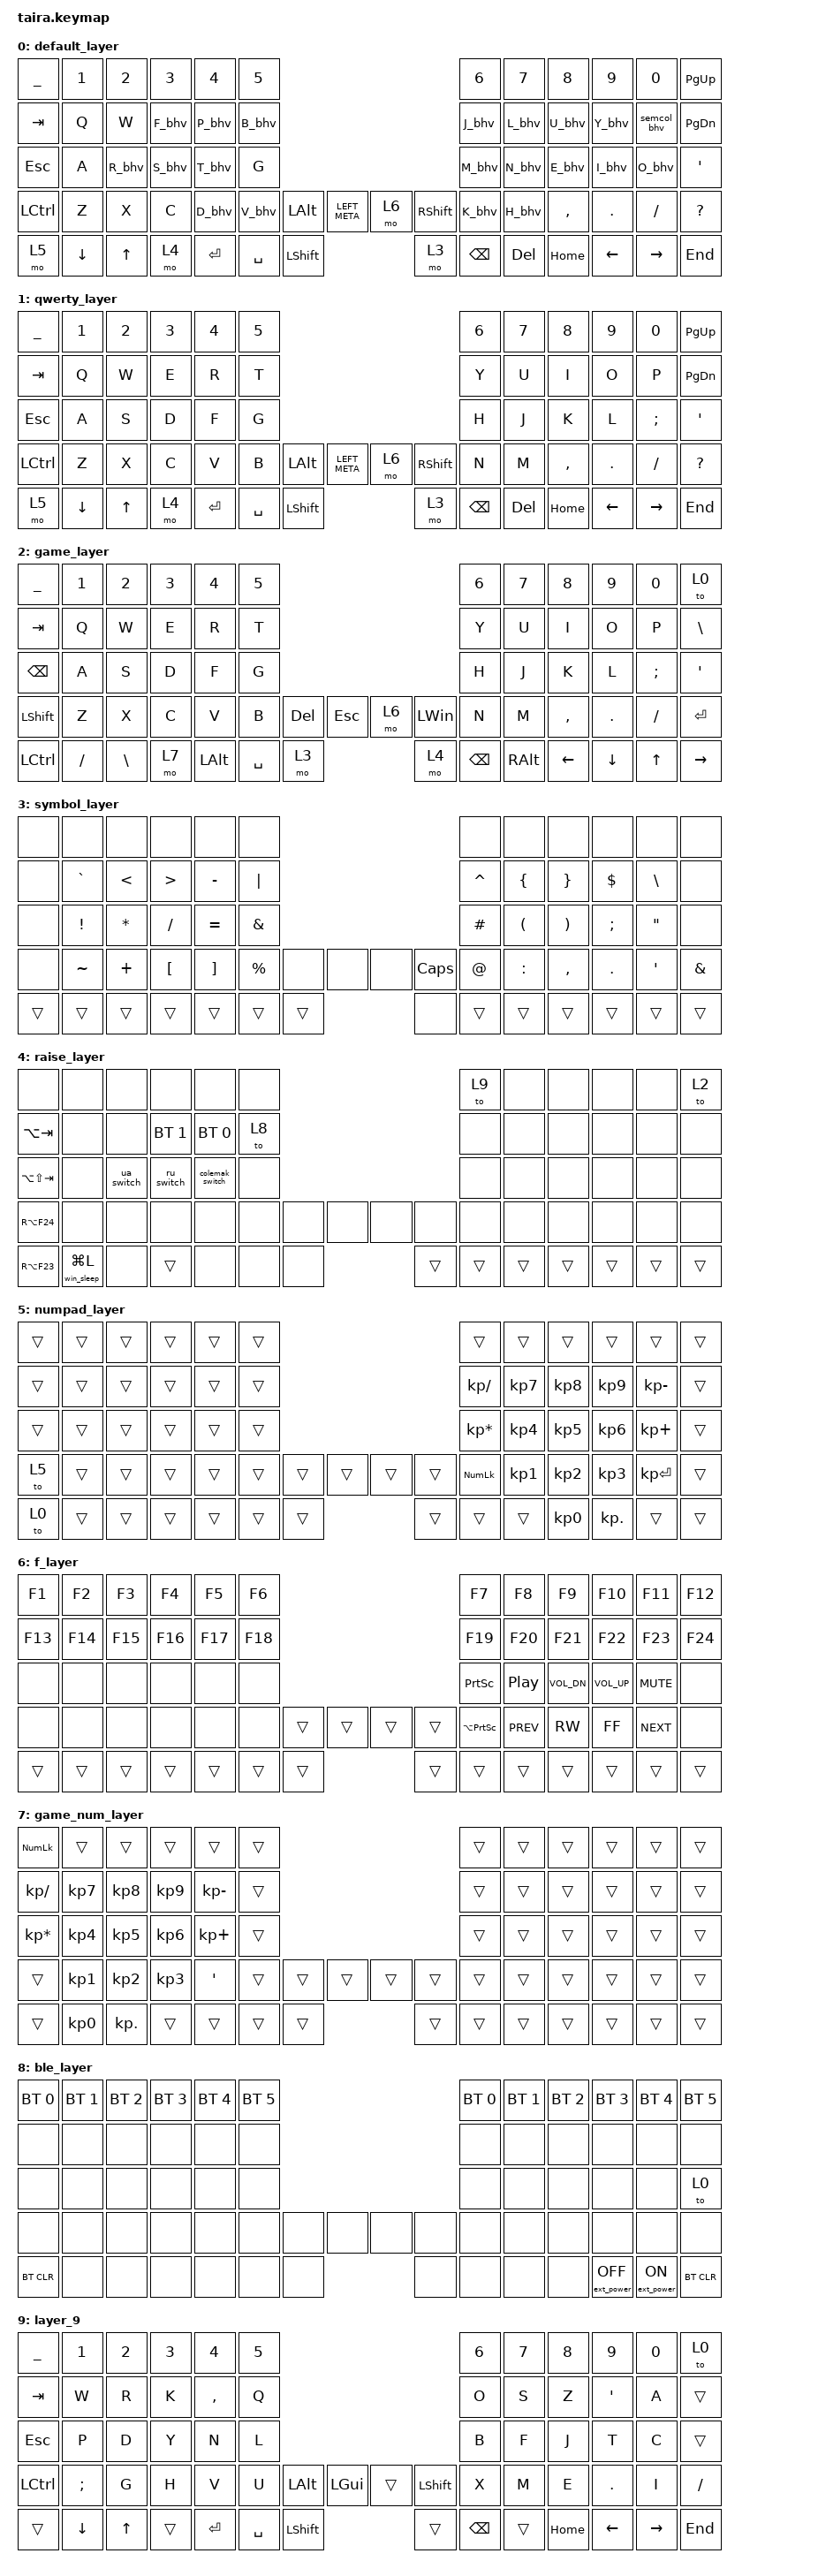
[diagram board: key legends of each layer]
/*
 * Copyright (c) 2020 The ZMK Contributors
 *
 * SPDX-License-Identifier: MIT
 */

#include <behaviors.dtsi>
#include <dt-bindings/zmk/bt.h>
#include <dt-bindings/zmk/ext_power.h>
#include <dt-bindings/zmk/keys.h>

/ {
    conditional_layers { compatible = "zmk,conditional-layers"; };

    macros {
        colemak_switch: eng_colemak_switch {
            compatible = "zmk,behavior-macro";
            #binding-cells = <0>;
            bindings = <&kp LS(LC(NUMBER_1)) &to 0>;
            label = "ENG_COLEMAK_SWITCH";
        };

        ru_switch: ru_switch {
            compatible = "zmk,behavior-macro";
            #binding-cells = <0>;
            bindings = <&kp LS(LC(NUMBER_2)) &to 1>;
            label = " RU_SWITCH";
        };

        ua_switch: ua_switch {
            compatible = "zmk,behavior-macro";
            #binding-cells = <0>;
            bindings = <&kp LS(LC(NUMBER_3)) &to 1>;
            label = "UA_SWITCH";
        };

        win_sleep: win_sleep {
            wait-ms = <50>;
            tap-ms = <5>;
            compatible = "zmk,behavior-macro";
            label = "WIN_SLEEP_KEY";
            #binding-cells = <0>;
            bindings = <&kp LG(X) &kp U &kp S>;
        };
    };

    behaviors {
        sleep_behavior: sleep_behavior {
            compatible = "zmk,behavior-hold-tap";
            label = "SLEEP_BEHAVIOR";
            bindings = <&win_sleep>, <&kp>;

            #binding-cells = <2>;
            flavor = "tap-preferred";
            tapping-term-ms = <500>;
        };

        D_bhv: D_bhv {
            compatible = "zmk,behavior-mod-morph";
            label = "D_BHV";
            bindings = <&kp D>, <&kp LC(V)>;

            #binding-cells = <0>;
            mods = <(MOD_LCTL)>;
        };

        T_bhv: T_bhv {
            compatible = "zmk,behavior-mod-morph";
            label = "T_BHV";
            bindings = <&kp T>, <&kp LC(F)>;

            #binding-cells = <0>;
            mods = <(MOD_LCTL)>;
        };

        R_bhv: R_bhv {
            compatible = "zmk,behavior-mod-morph";
            label = "R_BHV";
            bindings = <&kp R>, <&kp LC(S)>;

            #binding-cells = <0>;
            mods = <(MOD_LCTL)>;
        };

        S_bhv: S_bhv {
            compatible = "zmk,behavior-mod-morph";
            label = "S_BHV";
            bindings = <&kp S>, <&kp LC(D)>;

            #binding-cells = <0>;
            mods = <(MOD_LCTL)>;
        };

        P_bhv: P_bhv {
            compatible = "zmk,behavior-mod-morph";
            label = "P_BHV";
            bindings = <&kp P>, <&kp LC(R)>;

            #binding-cells = <0>;
            mods = <(MOD_LCTL)>;
        };

        B_bhv: B_bhv {
            compatible = "zmk,behavior-mod-morph";
            label = "B_BHV";
            bindings = <&kp B>, <&kp LC(T)>;

            #binding-cells = <0>;
            mods = <(MOD_LCTL)>;
        };

        V_bhv: V_bhv {
            compatible = "zmk,behavior-mod-morph";
            label = "V_BHV";
            bindings = <&kp V>, <&kp LC(B)>;

            #binding-cells = <0>;
            mods = <(MOD_LCTL)>;
        };

        F_bhv: F_bhv {
            compatible = "zmk,behavior-mod-morph";
            label = "F_BHV";
            bindings = <&kp F>, <&kp LC(E)>;

            #binding-cells = <0>;
            mods = <(MOD_LCTL)>;
        };

        K_bhv: K_bhv {
            compatible = "zmk,behavior-mod-morph";
            label = "K_BHV";
            bindings = <&kp K>, <&kp LC(N)>;

            #binding-cells = <0>;
            mods = <(MOD_LCTL)>;
        };

        M_bhv: M_bhv {
            compatible = "zmk,behavior-mod-morph";
            label = "M_BHV";
            bindings = <&kp M>, <&kp LC(H)>;

            #binding-cells = <0>;
            mods = <(MOD_LCTL)>;
        };

        J_bhv: J_bhv {
            compatible = "zmk,behavior-mod-morph";
            label = "J_BHV";
            bindings = <&kp J>, <&kp LC(Y)>;

            #binding-cells = <0>;
            mods = <(MOD_LCTL)>;
        };

        H_bhv: H_bhv {
            compatible = "zmk,behavior-mod-morph";
            label = "H_BHV";
            bindings = <&kp H>, <&kp LC(M)>;

            #binding-cells = <0>;
            mods = <(MOD_LCTL)>;
        };

        N_bhv: N_bhv {
            compatible = "zmk,behavior-mod-morph";
            label = "N_BHV";
            bindings = <&kp N>, <&kp LC(J)>;

            #binding-cells = <0>;
            mods = <(MOD_LCTL)>;
        };

        L_bhv: L_bhv {
            compatible = "zmk,behavior-mod-morph";
            label = "L_BHV";
            bindings = <&kp L>, <&kp LC(U)>;

            #binding-cells = <0>;
            mods = <(MOD_LCTL)>;
        };

        E_bhv: E_bhv {
            compatible = "zmk,behavior-mod-morph";
            label = "E_BHV";
            bindings = <&kp E>, <&kp LC(K)>;

            #binding-cells = <0>;
            mods = <(MOD_LCTL)>;
        };

        U_bhv: U_bhv {
            compatible = "zmk,behavior-mod-morph";
            label = "U_BHV";
            bindings = <&kp U>, <&kp LC(I)>;

            #binding-cells = <0>;
            mods = <(MOD_LCTL)>;
        };

        I_bhv: I_bhv {
            compatible = "zmk,behavior-mod-morph";
            label = "I_BHV";
            bindings = <&kp I>, <&kp LC(L)>;

            #binding-cells = <0>;
            mods = <(MOD_LCTL)>;
        };

        Y_bhv: Y_bhv {
            compatible = "zmk,behavior-mod-morph";
            label = "Y_BHV";
            bindings = <&kp Y>, <&kp LC(O)>;

            #binding-cells = <0>;
            mods = <(MOD_LCTL)>;
        };

        O_bhv: O_bhv {
            compatible = "zmk,behavior-mod-morph";
            label = "O_BHV";
            bindings = <&kp O>, <&kp LC(SEMICOLON)>;

            #binding-cells = <0>;
            mods = <(MOD_LCTL)>;
        };

        semcol_bhv: semcol_bhv {
            compatible = "zmk,behavior-mod-morph";
            label = "SEMCOL_BHV";
            bindings = <&kp SEMICOLON>, <&kp LC(P)>;

            #binding-cells = <0>;
            mods = <(MOD_LCTL)>;
        };
    };

    keymap {
        compatible = "zmk,keymap";

        default_layer {
            /* QWERTY
 * .----------------------------------------------------------------------------------------------------------------------------------.
 * |  `   |   1  |   2  |   3  |   4  |   5  |                                              |   6  |   7  |   8  |   9  |   0  | PScr |
 * |-------------+------+------+------+------+------+------+-------+-+-------+-------+------+------+------+------+------+------+------|
 * | ESC  |   Q  |   W  |   E  |   R  |   T  |                                              |   Y  |   U  |   I  |   O  |   P  |  \   |
 * |-------------+------+------+------+------+------+------+-------+-+-------+-------+------+------+------+------+------+------+------|
 * | Tab  |   A  |   S  |   D  |   F  |   G  |                                              |   H  |   J  |   K  |   L  |   ;  |  '   |
 * |-------------+------+------+------+------+------+------+-------+-+-------+-------+------+------+------+------+------+------+------|
 * | Shift|   Z  |   X  |   C  |   V  |   B  |      | Del  | PGDN  | | PGUP  | Home  |      |   N  |   M  |   ,  |   .  |   /  | Shift|
 * |-------------+------+------+------+------+------+------+-------+-+-------+-------+------+------+------+------+------+------+------|
 * | Ctrl | Alt  | Meta | Alt  |             | Meta | Space| Lower | | Raise | Enter | RAlt |             | LEFT | DOWN | UP   | RIGHT|
 * .----------------------------------------------------------------------------------------------------------------------------------.
 */

            bindings = <
&kp UNDER         &kp N1          &kp N2        &kp N3  &kp N4  &kp N5                                                                            &kp N6  &kp N7  &kp N8     &kp N9          &kp N0           &kp PG_UP
&kp TAB           &kp Q           &kp W         &F_bhv  &P_bhv  &B_bhv                                                                            &J_bhv  &L_bhv  &U_bhv     &Y_bhv          &semcol_bhv      &kp PG_DN
&kp ESC           &kp A           &R_bhv        &S_bhv  &T_bhv  &kp G                                                                             &M_bhv  &N_bhv  &E_bhv     &I_bhv          &O_bhv           &kp SQT
&kp LEFT_CONTROL  &kp Z           &kp X         &kp C   &D_bhv  &V_bhv             &kp LEFT_ALT  &kp LEFT_META   &mo 6  &kp RIGHT_SHIFT           &K_bhv  &H_bhv  &kp COMMA  &kp DOT         &kp SLASH        &kp QUESTION
&mo 5             &kp DOWN_ARROW  &kp UP_ARROW  &mo 4                   &kp ENTER  &kp SPACE     &kp LEFT_SHIFT  &mo 3  &kp BSPC         &kp DEL                  &kp HOME   &kp LEFT_ARROW  &kp RIGHT_ARROW  &kp END
            >;
        };

        qwerty_layer {
            bindings = <
&kp UNDER         &kp N1          &kp N2        &kp N3  &kp N4  &kp N5                                                                            &kp N6  &kp N7  &kp N8     &kp N9          &kp N0           &kp PG_UP
&kp TAB           &kp Q           &kp W         &kp E   &kp R   &kp T                                                                             &kp Y   &kp U   &kp I      &kp O           &kp P            &kp PAGE_DOWN
&kp ESC           &kp A           &kp S         &kp D   &kp F   &kp G                                                                             &kp H   &kp J   &kp K      &kp L           &kp SEMICOLON    &kp SINGLE_QUOTE
&kp LEFT_CONTROL  &kp Z           &kp X         &kp C   &kp V   &kp B              &kp LEFT_ALT  &kp LEFT_META   &mo 6  &kp RIGHT_SHIFT           &kp N   &kp M   &kp COMMA  &kp DOT         &kp SLASH        &kp QUESTION
&mo 5             &kp DOWN_ARROW  &kp UP_ARROW  &mo 4                   &kp ENTER  &kp SPACE     &kp LEFT_SHIFT  &mo 3  &kp BSPC         &kp DEL                  &kp HOME   &kp LEFT_ARROW  &kp RIGHT_ARROW  &kp END
            >;
        };

        game_layer {
            bindings = <
&kp UNDER      &kp N1     &kp N2         &kp N3  &kp N4  &kp N5                                                                   &kp N6  &kp N7  &kp N8     &kp N9    &kp N0     &to 0
&kp TAB        &kp Q      &kp W          &kp E   &kp R   &kp T                                                                    &kp Y   &kp U   &kp I      &kp O     &kp P      &kp BSLH
&kp BACKSPACE  &kp A      &kp S          &kp D   &kp F   &kp G                                                                    &kp H   &kp J   &kp K      &kp L     &kp SEMI   &kp SQT
&kp LSHFT      &kp Z      &kp X          &kp C   &kp V   &kp B                 &kp DEL    &kp ESC  &mo 6  &kp LEFT_WIN            &kp N   &kp M   &kp COMMA  &kp DOT   &kp SLASH  &kp ENTER
&kp LCTRL      &kp SLASH  &kp BACKSLASH  &mo 7                   &kp LEFT_ALT  &kp SPACE  &mo 3    &mo 4  &kp BSPC      &kp RALT                  &kp LEFT   &kp DOWN  &kp UP     &kp RIGHT
            >;
        };

        symbol_layer {
            bindings = <
&none   &none      &none     &none             &none              &none                                                         &none      &none           &none            &none     &none              &none
&none   &kp GRAVE  &kp LT    &kp GT            &kp MINUS          &kp PIPE                                                      &kp CARET  &kp LEFT_BRACE  &kp RIGHT_BRACE  &kp DLLR  &kp BACKSLASH      &none
&none   &kp EXCL   &kp STAR  &kp SLASH         &kp EQUAL          &kp AMPS                                                      &kp HASH   &kp LPAR        &kp RPAR         &kp SEMI  &kp DOUBLE_QUOTES  &none
&none   &kp TILDE  &kp PLUS  &kp LEFT_BRACKET  &kp RIGHT_BRACKET  &kp PERCENT          &none   &none   &none  &kp CAPS          &kp AT     &kp COLON       &kp COMMA        &kp DOT   &kp SINGLE_QUOTE   &kp AMPS
&trans  &trans     &trans    &trans                                            &trans  &trans  &trans  &none  &trans    &trans                             &trans           &trans    &trans             &trans
            >;
        };

        raise_layer {
            bindings = <
&none            &none                    &none       &none         &none            &none                                               &to 9  &none  &none   &none   &none   &to 2
&kp LA(TAB)      &none                    &none       &bt BT_SEL 1  &bt BT_SEL 0     &to 8                                               &none  &none  &none   &none   &none   &none
&kp LA(LS(TAB))  &none                    &ua_switch  &ru_switch    &colemak_switch  &none                                               &none  &none  &none   &none   &none   &none
&kp RA(F24)      &none                    &none       &none         &none            &none         &none  &none  &none   &none           &none  &none  &none   &none   &none   &none
&kp RA(F23)      &sleep_behavior 0 LG(L)  &none       &trans                                &none  &none  &none  &trans  &trans  &trans                &trans  &trans  &trans  &trans
            >;
        };

        numpad_layer {
            bindings = <
&trans  &trans  &trans  &trans  &trans  &trans                                                  &trans           &trans           &trans           &trans           &trans        &trans
&trans  &trans  &trans  &trans  &trans  &trans                                                  &kp KP_SLASH     &kp KP_NUMBER_7  &kp KP_NUMBER_8  &kp KP_NUMBER_9  &kp KP_MINUS  &trans
&trans  &trans  &trans  &trans  &trans  &trans                                                  &kp KP_MULTIPLY  &kp KP_NUMBER_4  &kp KP_NUMBER_5  &kp KP_NUMBER_6  &kp KP_PLUS   &trans
&to 5   &trans  &trans  &trans  &trans  &trans          &trans  &trans  &trans  &trans          &kp KP_NUM       &kp KP_NUMBER_1  &kp KP_NUMBER_2  &kp KP_NUMBER_3  &kp KP_ENTER  &trans
&to 0   &trans  &trans  &trans                  &trans  &trans  &trans  &trans  &trans  &trans                                    &kp KP_NUMBER_0  &kp KP_DOT       &trans        &trans
            >;
        };

        f_layer {
            bindings = <
&kp F1   &kp F2   &kp F3   &kp F4   &kp F5   &kp F6                                                   &kp F7               &kp F8      &kp F9        &kp F10       &kp F11     &kp F12
&kp F13  &kp F14  &kp F15  &kp F16  &kp F17  &kp F18                                                  &kp F19              &kp F20     &kp F21       &kp F22       &kp F23     &kp F24
&none    &none    &none    &none    &none    &none                                                    &kp PRINTSCREEN      &kp C_PP    &kp C_VOL_DN  &kp C_VOL_UP  &kp C_MUTE  &none
&none    &none    &none    &none    &none    &none            &trans  &trans  &trans  &trans          &kp LA(PRINTSCREEN)  &kp C_PREV  &kp C_RW      &kp C_FF      &kp C_NEXT  &none
&trans   &trans   &trans   &trans                     &trans  &trans  &trans  &trans  &trans  &trans                                   &trans        &trans        &trans      &trans
            >;
        };

        game_num_layer {
            bindings = <
&kp KP_NUM       &trans           &trans           &trans           &trans            &trans                                                  &trans  &trans  &trans  &trans  &trans  &trans
&kp KP_SLASH     &kp KP_NUMBER_7  &kp KP_NUMBER_8  &kp KP_NUMBER_9  &kp KP_MINUS      &trans                                                  &trans  &trans  &trans  &trans  &trans  &trans
&kp KP_MULTIPLY  &kp KP_NUMBER_4  &kp KP_NUMBER_5  &kp KP_NUMBER_6  &kp KP_PLUS       &trans                                                  &trans  &trans  &trans  &trans  &trans  &trans
&trans           &kp KP_NUMBER_1  &kp KP_NUMBER_2  &kp KP_NUMBER_3  &kp SINGLE_QUOTE  &trans          &trans  &trans  &trans  &trans          &trans  &trans  &trans  &trans  &trans  &trans
&trans           &kp KP_NUMBER_0  &kp KP_DOT       &trans                                     &trans  &trans  &trans  &trans  &trans  &trans                  &trans  &trans  &trans  &trans
            >;
        };

        ble_layer {
            bindings = <
&bt BT_SEL 0  &bt BT_SEL 1  &bt BT_SEL 2  &bt BT_SEL 3  &bt BT_SEL 4  &bt BT_SEL 5                                            &bt BT_SEL 0  &bt BT_SEL 1  &bt BT_SEL 2  &bt BT_SEL 3       &bt BT_SEL 4      &bt BT_SEL 5
&none         &none         &none         &none         &none         &none                                                   &none         &none         &none         &none              &none             &none
&none         &none         &none         &none         &none         &none                                                   &none         &none         &none         &none              &none             &to 0
&none         &none         &none         &none         &none         &none                &none  &none  &none  &none         &none         &none         &none         &none              &none             &none
&bt BT_CLR    &none         &none         &none                                     &none  &none  &none  &none  &none  &none                              &none         &ext_power EP_OFF  &ext_power EP_ON  &bt BT_CLR
            >;
        };

        layer_9 {
            bindings = <
&kp UNDER  &kp N1          &kp N2        &kp N3  &kp N4     &kp N5                                                              &kp N6  &kp N7  &kp N8    &kp N9          &kp N0           &to 0
&kp TAB    &kp W           &kp R         &kp K   &kp COMMA  &kp Q                                                               &kp O   &kp S   &kp Z     &kp APOS        &kp A            &trans
&kp ESC    &kp P           &kp D         &kp Y   &kp N      &kp L                                                               &kp B   &kp F   &kp J     &kp T           &kp C            &trans
&kp LCTRL  &kp SEMI        &kp G         &kp H   &kp V      &kp U              &kp LALT   &kp LGUI   &trans  &kp LSHFT          &kp X   &kp M   &kp E     &kp DOT         &kp I            &kp FSLH
&trans     &kp DOWN_ARROW  &kp UP_ARROW  &trans                     &kp ENTER  &kp SPACE  &kp LSHFT  &trans  &kp BSPC   &trans                  &kp HOME  &kp LEFT_ARROW  &kp RIGHT_ARROW  &kp END
            >;
        };
    };
};
